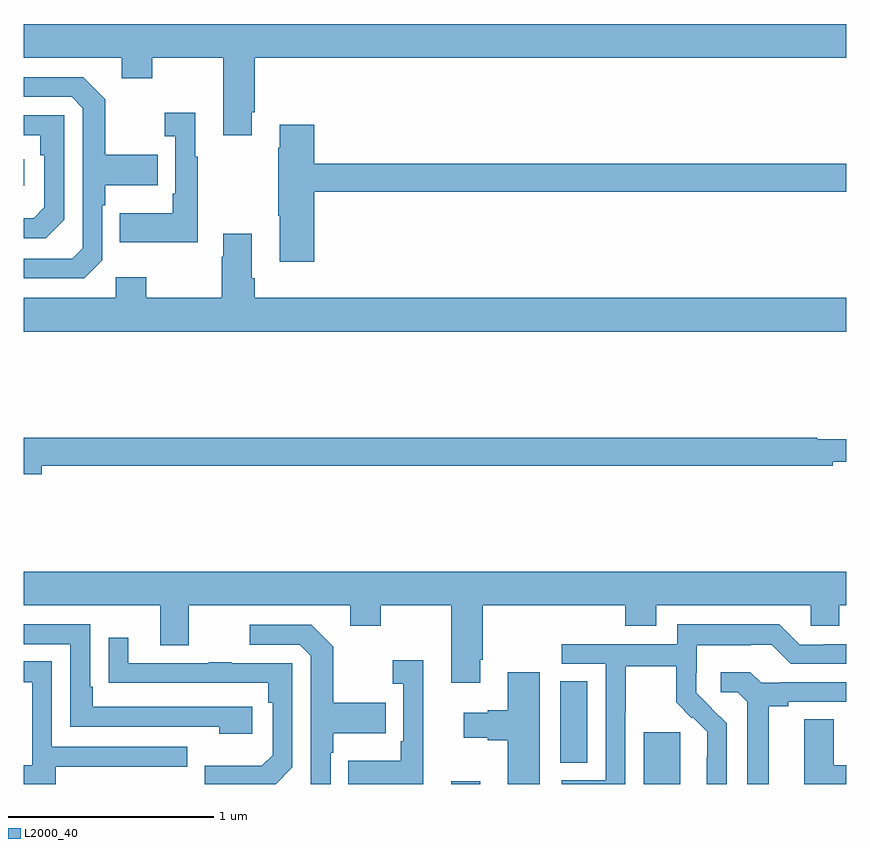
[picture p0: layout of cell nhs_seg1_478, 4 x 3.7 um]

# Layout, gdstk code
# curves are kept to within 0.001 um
import gdstk
lib = gdstk.Library(unit=1e-6, precision=1e-09)
def R(c, l, rs):  # rectangles x0, y0, x1, y1
    for r in rs: c.add(gdstk.rectangle(r[:2], r[2:], *l))
def P(c, l, *ps):  # polygons
    for p in ps: c.add(gdstk.Polygon(p, *l))
L2000_40 = (2000, 40)

nhs_seg1_478 = lib.new_cell('nhs_seg1_478')
R(nhs_seg1_478, L2000_40, [(139.079,548.199,139.219,548.212), (140.015,548.199,140.194,548.451), (139.61,548.302,139.741,548.699), (137,551.108,137.002,551.238)])
P(nhs_seg1_478, L2000_40, [(138.109,551.467),(138.122,551.467),(138.122,551.732),(141,551.732),(141,551.896),(137,551.896),(137,551.732),(137.477,551.732),(137.477,551.633),(137.625,551.633),(137.625,551.732),(137.969,551.732),(137.969,551.355),(138.109,551.355)],
  [(137.382,550.746),(137.382,551.015),(137.395,551.015),(137.395,551.111),(137.651,551.111),(137.651,551.259),(137.395,551.259),(137.395,551.531),(137.289,551.637),(137,551.637),(137,551.541),(137.232,551.541),(137.286,551.487),(137.286,550.806),(137.235,550.755),(137,550.755),(137,550.659),(137.295,550.659)],
  [(137.845,551.251),(137.833,551.251),(137.833,551.464),(137.685,551.464),(137.685,551.351),(137.736,551.351),(137.736,551.071),(137.724,551.071),(137.724,550.975),(137.467,550.975),(137.467,550.835),(137.845,550.835)],
  [(137.196,550.944),(137.196,551.451),(137,551.451),(137,551.355),(137.08,551.355),(137.08,551.258),(137.1,551.258),(137.1,551.004),(137.047,550.951),(137,550.951),(137,550.854),(137.106,550.854)],
  [(138.413,551.08),(141,551.08),(141,551.216),(138.413,551.216),(138.413,551.407),(138.245,551.407),(138.245,551.294),(138.238,551.294),(138.238,550.963),(138.245,550.963),(138.245,550.74),(138.413,550.74)],
  [(141,550.564),(138.122,550.564),(138.122,550.66),(138.109,550.66),(138.109,550.876),(137.969,550.876),(137.969,550.763),(137.962,550.763),(137.962,550.564),(137.595,550.564),(137.595,550.663),(137.448,550.663),(137.448,550.564),(137,550.564),(137,550.4),(141,550.4)],
  [(137.086,549.748),(140.936,549.748),(140.936,549.767),(141,549.767),(141,549.877),(140.86,549.877),(140.86,549.884),(137,549.884),(137,549.706),(137.086,549.706)],
  [(139.219,548.803),(139.232,548.803),(139.232,549.068),(139.925,549.068),(139.925,548.969),(140.077,548.969),(140.077,549.068),(140.829,549.068),(140.829,548.97),(140.967,548.97),(140.967,549.068),(141,549.068),(141,549.232),(137,549.232),(137,549.068),(137.663,549.068),(137.663,548.874),(137.803,548.874),(137.803,549.068),(138.587,549.068),(138.587,548.969),(138.735,548.969),(138.735,549.068),(139.079,549.068),(139.079,548.691),(139.219,548.691)],
  [(139.926,548.548),(139.929,548.548),(139.929,548.772),(140.173,548.772),(140.173,548.597),(140.25,548.52),(140.253,548.523),(140.324,548.453),(140.324,548.33),(140.322,548.33),(140.322,548.199),(140.418,548.199),(140.418,548.494),(140.272,548.642),(140.272,548.739),(140.274,548.739),(140.274,548.873),(140.537,548.873),(140.537,548.877),(140.637,548.877),(140.73,548.784),(141,548.784),(141,548.88),(140.891,548.88),(140.891,548.877),(140.775,548.877),(140.675,548.977),(140.178,548.977),(140.178,548.88),(139.617,548.88),(139.617,548.784),(139.83,548.784),(139.83,548.217),(139.617,548.217),(139.617,548.199),(139.926,548.199)],
  [(138.112,548.574),(137.335,548.574),(137.335,548.671),(137.322,548.671),(137.322,548.976),(137,548.976),(137,548.88),(137.226,548.88),(137.226,548.478),(137.951,548.478),(137.951,548.444),(138.112,548.444)],
  [(138.492,548.351),(138.505,548.351),(138.505,548.447),(138.761,548.447),(138.761,548.595),(138.505,548.595),(138.505,548.867),(138.399,548.973),(138.099,548.973),(138.099,548.877),(138.342,548.877),(138.396,548.823),(138.396,548.199),(138.492,548.199)],
  [(138.306,548.28),(138.306,548.787),(138.011,548.787),(138.011,548.792),(137.899,548.792),(137.899,548.787),(137.509,548.787),(137.509,548.911),(137.413,548.911),(137.413,548.692),(138.19,548.691),(138.19,548.594),(138.21,548.594),(138.21,548.34),(138.157,548.287),(137.88,548.287),(137.88,548.199),(138.225,548.199)],
  [(138.944,548.8),(138.795,548.8),(138.795,548.687),(138.846,548.687),(138.846,548.407),(138.834,548.407),(138.834,548.311),(138.577,548.311),(138.577,548.199),(138.944,548.199)],
  [(137.155,548.283),(137.795,548.283),(137.795,548.379),(137.136,548.379),(137.136,548.795),(137,548.795),(137,548.694),(137.04,548.694),(137.04,548.289),(137,548.289),(137,548.199),(137.155,548.199)],
  [(139.51,548.743),(139.355,548.743),(139.355,548.558),(139.256,548.558),(139.256,548.545),(139.14,548.545),(139.14,548.423),(139.256,548.423),(139.256,548.411),(139.355,548.411),(139.355,548.199),(139.51,548.199)],
  [(140.623,548.576),(140.719,548.576),(140.719,548.598),(141,548.598),(141,548.694),(140.68,548.694),(140.68,548.691),(140.586,548.691),(140.534,548.743),(140.391,548.743),(140.391,548.646),(140.472,548.646),(140.519,548.599),(140.519,548.199),(140.623,548.199)],
  [(141,548.289),(140.94,548.289),(140.94,548.513),(140.795,548.513),(140.795,548.199),(141,548.199)])

lib.write_gds('nhs_seg1_478.gds')
